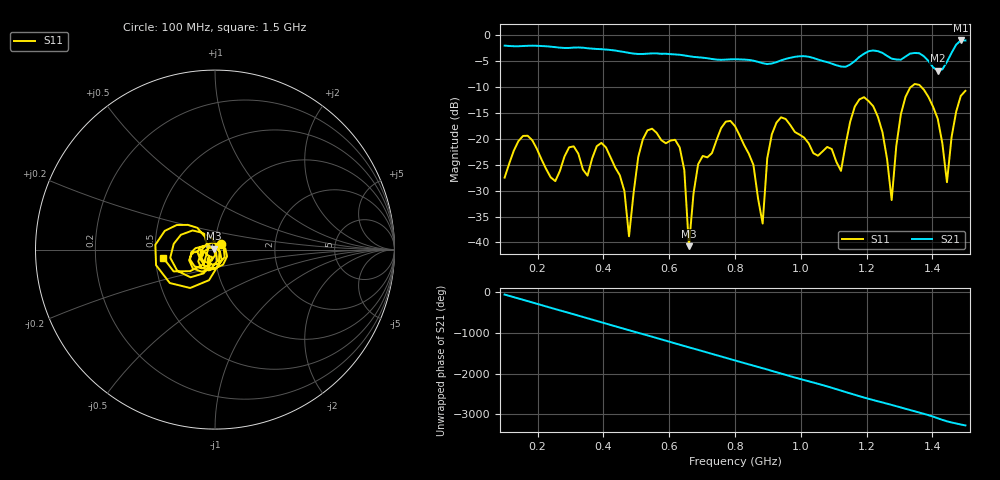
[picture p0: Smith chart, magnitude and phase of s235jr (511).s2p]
! NanoVNA-App
! Date: 2025-09-25 15:08:08
! Start: 100MHz Stop: 1,5GHz Points: 101
! S-Parameter data: F S11 S21 S12 S22
# Hz S RI R 50
!  Frequency  S11_Real  S11_Imag  S21_Real  S21_Imag  S12_Real  S12_Imag  S22_Real  S22_Imag
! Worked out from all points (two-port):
!   101 points, 100 MHz to 1.5 GHz, reference 50 ohm
!   highest |S21| = -0.97 dB at 1.486 GHz (marker M1); lowest = -6.8 dB at 1.416 GHz (marker M2)
!   |S21| within 3 dB of the highest: start of sweep to 656.3 MHz; 1.182 GHz to 1.262 GHz (80.43 MHz wide, 6.58 % of centre) (the widest 2 of 4)
!   lowest |S11| = -40.7 dB at 660 MHz (marker M3), VSWR 1.02, Z = 49.3 + j0.565 ohm
!   |S11| at or under -10 dB: start of sweep to 1.334 GHz; 1.367 GHz to end of sweep
!   S12 and S22 are empty: the file has one direction only
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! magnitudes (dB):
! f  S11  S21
! 100 MHz  -27.5  -2.0
! 156 MHz  -19.4  -2.0
! 338 MHz  -25.9  -2.4
! 408 MHz  -21.6  -2.7
! 478 MHz  -38.8  -3.4
! 520 MHz  -20.1  -3.6
! 576 MHz  -20.2  -3.5
! 632 MHz  -21.6  -3.7
! 660 MHz  -40.7  -4.0
! 688 MHz  -24.9  -4.2
! 800 MHz  -17.5  -4.6
! 884 MHz  -36.3  -5.4
! 926 MHz  -16.8  -5.2
! 1.038 GHz  -22.7  -4.3
! 1.122 GHz  -26.2  -6.0
! 1.192 GHz  -11.9  -3.5
! 1.276 GHz  -31.8  -4.5
! 1.332 GHz  -10.1  -3.5
! 1.416 GHz  -16.1  -6.8
! 1.444 GHz  -28.3  -5.1
! 1.486 GHz  -11.7  -1.0
! 1.5 GHz  -10.7  -1.0
